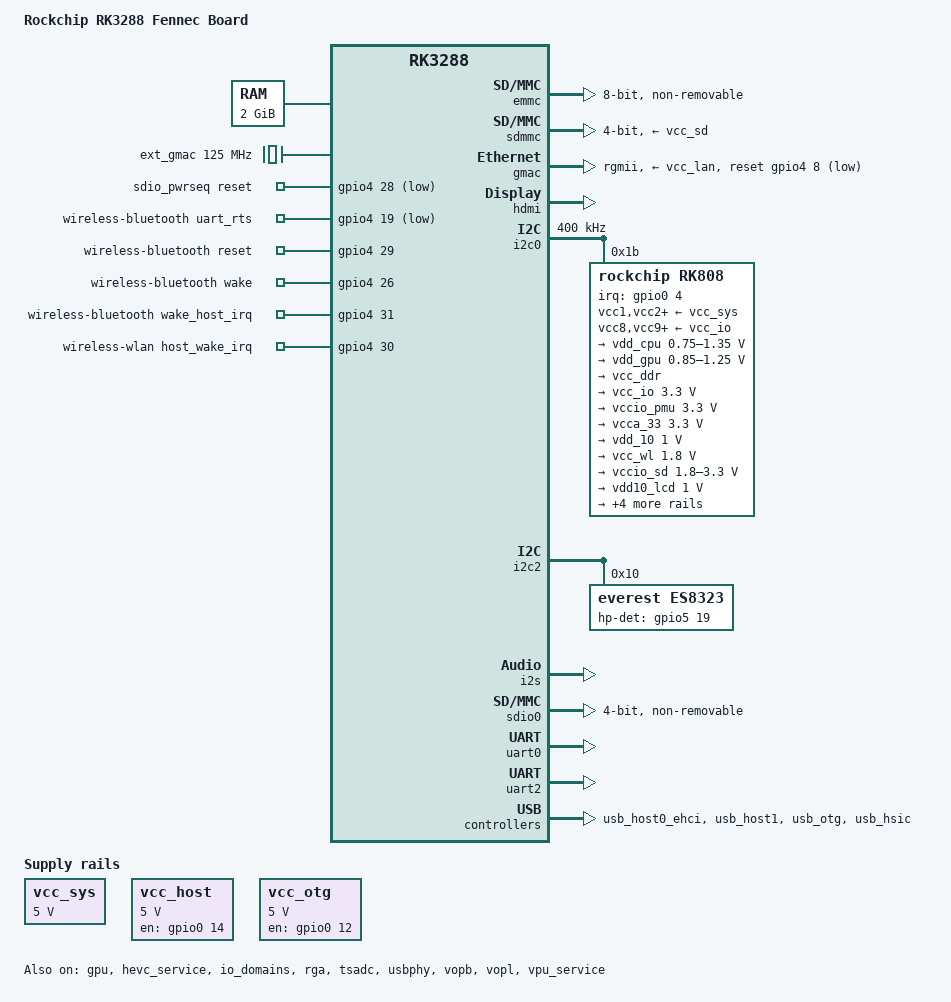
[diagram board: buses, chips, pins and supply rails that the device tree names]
/*
 * This file is dual-licensed: you can use it either under the terms
 * of the GPL or the X11 license, at your option. Note that this dual
 * licensing only applies to this file, and not this project as a
 * whole.
 *
 *  a) This file is free software; you can redistribute it and/or
 *     modify it under the terms of the GNU General Public License as
 *     published by the Free Software Foundation; either version 2 of the
 *     License, or (at your option) any later version.
 *
 *     This file is distributed in the hope that it will be useful,
 *     but WITHOUT ANY WARRANTY; without even the implied warranty of
 *     MERCHANTABILITY or FITNESS FOR A PARTICULAR PURPOSE.  See the
 *     GNU General Public License for more details.
 *
 * Or, alternatively,
 *
 *  b) Permission is hereby granted, free of charge, to any person
 *     obtaining a copy of this software and associated documentation
 *     files (the "Software"), to deal in the Software without
 *     restriction, including without limitation the rights to use,
 *     copy, modify, merge, publish, distribute, sublicense, and/or
 *     sell copies of the Software, and to permit persons to whom the
 *     Software is furnished to do so, subject to the following
 *     conditions:
 *
 *     The above copyright notice and this permission notice shall be
 *     included in all copies or substantial portions of the Software.
 *
 *     THE SOFTWARE IS PROVIDED "AS IS", WITHOUT WARRANTY OF ANY KIND,
 *     EXPRESS OR IMPLIED, INCLUDING BUT NOT LIMITED TO THE WARRANTIES
 *     OF MERCHANTABILITY, FITNESS FOR A PARTICULAR PURPOSE AND
 *     NONINFRINGEMENT. IN NO EVENT SHALL THE AUTHORS OR COPYRIGHT
 *     HOLDERS BE LIABLE FOR ANY CLAIM, DAMAGES OR OTHER LIABILITY,
 *     WHETHER IN AN ACTION OF CONTRACT, TORT OR OTHERWISE, ARISING
 *     FROM, OUT OF OR IN CONNECTION WITH THE SOFTWARE OR THE USE OR
 *     OTHER DEALINGS IN THE SOFTWARE.
 */

/dts-v1/;

#include <dt-bindings/clock/rockchip,rk808.h>
#include "rk3288.dtsi"

/ {
	model = "Rockchip RK3288 Fennec Board";
	compatible = "rockchip,rk3288-fennec", "rockchip,rk3288";

	memory {
		reg = <0x0 0x0 0x0 0x80000000>;
		device_type = "memory";
	};

	ext_gmac: external-gmac-clock {
		compatible = "fixed-clock";
		#clock-cells = <0>;
		clock-frequency = <125000000>;
		clock-output-names = "ext_gmac";
	};

	sdio_pwrseq: sdio-pwrseq {
		compatible = "mmc-pwrseq-simple";
		clocks = <&rk808 RK808_CLKOUT1>;
		clock-names = "ext_clock";
		pinctrl-names = "default";
		pinctrl-0 = <&wifi_enable_h>;

		/*
		 * On the module itself this is one of these (depending
		 * on the actual card populated):
		 * - SDIO_RESET_L_WL_REG_ON
		 * - PDN (power down when low)
		 */
		reset-gpios = <&gpio4 28 GPIO_ACTIVE_LOW>;
	};

	sound {
		compatible = "simple-audio-card";
		simple-audio-card,format = "i2s";
		simple-audio-card,name = "rockchip,fennec-codec";
		simple-audio-card,mclk-fs = <512>;

		simple-audio-card,dai-link@0 {
			format = "i2s";
			cpu {
				sound-dai = <&i2s>;
			};
			codec {
				sound-dai = <&hdmi>;
			};

		};

		simple-audio-card,dai-link@1 {
			format = "i2s";
			cpu {
				sound-dai = <&i2s>;
			};

			codec {
				sound-dai = <&es8323>;
			};
		};
	};

	vcc_sys: vsys-regulator {
		compatible = "regulator-fixed";
		regulator-name = "vcc_sys";
		regulator-min-microvolt = <5000000>;
		regulator-max-microvolt = <5000000>;
		regulator-always-on;
		regulator-boot-on;
	};

	vcc_host: usb-host-regulator {
		compatible = "regulator-fixed";
		enable-active-high;
		gpio = <&gpio0 14 GPIO_ACTIVE_HIGH>;
		pinctrl-names = "default";
		pinctrl-0 = <&host_drv>;
		regulator-name = "vcc_host_5v";
		regulator-min-microvolt = <5000000>;
		regulator-max-microvolt = <5000000>;
		regulator-always-on;
	};

	vcc_otg: usb-otg-regulator {
		compatible = "regulator-fixed";
		enable-active-high;
		gpio = <&gpio0 12 GPIO_ACTIVE_HIGH>;
		pinctrl-names = "default";
		pinctrl-0 = <&otg_drv>;
		regulator-name = "vcc_otg_5v";
		regulator-min-microvolt = <5000000>;
		regulator-max-microvolt = <5000000>;
		regulator-always-on;
	};

	wireless-bluetooth {
		compatible = "bluetooth-platdata";
		uart_rts_gpios = <&gpio4 19 GPIO_ACTIVE_LOW>;
		pinctrl-names = "default", "rts_gpio";
		pinctrl-0 = <&uart0_rts>;
		pinctrl-1 = <&uart0_gpios>;
		BT,reset_gpio    = <&gpio4 29 GPIO_ACTIVE_HIGH>;
		BT,wake_gpio     = <&gpio4 26 GPIO_ACTIVE_HIGH>;
		BT,wake_host_irq = <&gpio4 31 GPIO_ACTIVE_HIGH>;
		status = "okay";
	};

	wireless-wlan {
		compatible = "wlan-platdata";
		rockchip,grf = <&grf>;
		wifi_chip_type = "ap6212";
		sdio_vref = <1800>;
		WIFI,host_wake_irq = <&gpio4 30 GPIO_ACTIVE_HIGH>;
		status = "okay";
	};
};

&cpu0 {
	cpu0-supply = <&vdd_cpu>;
};

&emmc {
	bus-width = <8>;
	cap-mmc-highspeed;
	disable-wp;
	non-removable;
	num-slots = <1>;
	pinctrl-names = "default";
	pinctrl-0 = <&emmc_clk &emmc_cmd &emmc_pwr &emmc_bus8>;
	status = "okay";
};

&sdmmc {
	bus-width = <4>;
	cap-mmc-highspeed;
	cap-sd-highspeed;
	card-detect-delay = <200>;
	disable-wp;
	num-slots = <1>;
	pinctrl-names = "default";
	pinctrl-0 = <&sdmmc_clk &sdmmc_cmd &sdmmc_cd &sdmmc_bus4>;
	status = "okay";
	supports-sd;
	vmmc-supply = <&vcc_sd>;
	vqmmc-supply = <&vccio_sd>;
};

&gmac {
	assigned-clocks = <&cru SCLK_MAC>;
	assigned-clock-parents = <&ext_gmac>;
	clock_in_out = "input";
	pinctrl-names = "default";
	pinctrl-0 = <&rgmii_pins>, <&phy_rst>, <&phy_pmeb>, <&phy_int>;
	phy-supply = <&vcc_lan>;
	phy-mode = "rgmii";
	snps,reset-active-low;
	snps,reset-delays-us = <0 10000 1000000>;
	snps,reset-gpio = <&gpio4 8 GPIO_ACTIVE_LOW>;
	tx_delay = <0x30>;
	rx_delay = <0x10>;
	status = "okay";
};

&gpu {
	mali-supply = <&vdd_gpu>;
	status = "okay";
};

&hdmi {
	#address-cells = <1>;
	#size-cells = <0>;
	#sound-dai-cells = <0>;
	status = "okay";
};

&hevc_service {
	status = "okay";
};

&i2c0 {
	status = "okay";
	clock-frequency = <400000>;

	rk808: pmic@1b {
		compatible = "rockchip,rk808";
		reg = <0x1b>;
		interrupt-parent = <&gpio0>;
		interrupts = <4 IRQ_TYPE_LEVEL_LOW>;
		#clock-cells = <1>;
		clock-output-names = "xin32k", "rk808-clkout2";
		pinctrl-names = "default";
		pinctrl-0 = <&pmic_int &global_pwroff>;
		rockchip,system-power-controller;
		wakeup-source;

		vcc1-supply = <&vcc_sys>;
		vcc2-supply = <&vcc_sys>;
		vcc3-supply = <&vcc_sys>;
		vcc4-supply = <&vcc_sys>;
		vcc6-supply = <&vcc_sys>;
		vcc7-supply = <&vcc_sys>;
		vcc8-supply = <&vcc_io>;
		vcc9-supply = <&vcc_io>;
		vcc10-supply = <&vcc_io>;
		vcc11-supply = <&vcc_io>;
		vcc12-supply = <&vcc_io>;
		vddio-supply = <&vcc_io>;

		regulators {
			vdd_cpu: DCDC_REG1 {
				regulator-always-on;
				regulator-boot-on;
				regulator-min-microvolt = <750000>;
				regulator-max-microvolt = <1350000>;
				regulator-name = "vdd_arm";
				regulator-state-mem {
					regulator-off-in-suspend;
				};
			};

			vdd_gpu: DCDC_REG2 {
				regulator-always-on;
				regulator-boot-on;
				regulator-min-microvolt = <850000>;
				regulator-max-microvolt = <1250000>;
				regulator-name = "vdd_gpu";
				regulator-ramp-delay = <6000>;
				regulator-state-mem {
					regulator-on-in-suspend;
					regulator-suspend-microvolt = <1000000>;
				};
			};

			vcc_ddr: DCDC_REG3 {
				regulator-always-on;
				regulator-boot-on;
				regulator-name = "vcc_ddr";
				regulator-state-mem {
					regulator-on-in-suspend;
				};
			};

			vcc_io: DCDC_REG4 {
				regulator-always-on;
				regulator-boot-on;
				regulator-min-microvolt = <3300000>;
				regulator-max-microvolt = <3300000>;
				regulator-name = "vcc_io";
				regulator-state-mem {
					regulator-on-in-suspend;
					regulator-suspend-microvolt = <3300000>;
				};
			};

			vccio_pmu: LDO_REG1 {
				regulator-always-on;
				regulator-boot-on;
				regulator-min-microvolt = <3300000>;
				regulator-max-microvolt = <3300000>;
				regulator-name = "vccio_pmu";
				regulator-state-mem {
					regulator-on-in-suspend;
					regulator-suspend-microvolt = <3300000>;
				};
			};

			vcca_33: LDO_REG2 {
				regulator-always-on;
				regulator-boot-on;
				regulator-min-microvolt = <3300000>;
				regulator-max-microvolt = <3300000>;
				regulator-name = "vcca_33";
				regulator-state-mem {
					regulator-off-in-suspend;
				};
			};

			vdd_10: LDO_REG3 {
				regulator-always-on;
				regulator-boot-on;
				regulator-min-microvolt = <1000000>;
				regulator-max-microvolt = <1000000>;
				regulator-name = "vdd_10";
				regulator-state-mem {
					regulator-on-in-suspend;
					regulator-suspend-microvolt = <1000000>;
				};
			};

			vcc_wl: LDO_REG4 {
				regulator-always-on;
				regulator-boot-on;
				regulator-min-microvolt = <1800000>;
				regulator-max-microvolt = <1800000>;
				regulator-name = "vcc_wl";
				regulator-state-mem {
					regulator-on-in-suspend;
					regulator-suspend-microvolt = <1800000>;
				};
			};

			vccio_sd: LDO_REG5 {
				regulator-always-on;
				regulator-boot-on;
				regulator-min-microvolt = <1800000>;
				regulator-max-microvolt = <3300000>;
				regulator-name = "vccio_sd";
				regulator-state-mem {
					regulator-on-in-suspend;
					regulator-suspend-microvolt = <3300000>;
				};
			};

			vdd10_lcd: LDO_REG6 {
				regulator-always-on;
				regulator-boot-on;
				regulator-min-microvolt = <1000000>;
				regulator-max-microvolt = <1000000>;
				regulator-name = "vdd10_lcd";
				regulator-state-mem {
					regulator-on-in-suspend;
					regulator-suspend-microvolt = <1000000>;
				};
			};

			vcc_18: LDO_REG7 {
				regulator-always-on;
				regulator-boot-on;
				regulator-min-microvolt = <1800000>;
				regulator-max-microvolt = <1800000>;
				regulator-name = "vcc_18";
				regulator-state-mem {
					regulator-on-in-suspend;
					regulator-suspend-microvolt = <1800000>;
				};
			};

			vcc18_lcd: LDO_REG8 {
				regulator-always-on;
				regulator-boot-on;
				regulator-min-microvolt = <1800000>;
				regulator-max-microvolt = <1800000>;
				regulator-name = "vcc18_lcd";
				regulator-state-mem {
					regulator-on-in-suspend;
					regulator-suspend-microvolt = <1800000>;
				};
			};

			vcc_sd: SWITCH_REG1 {
				regulator-always-on;
				regulator-boot-on;
				regulator-name = "vcc_sd";
				regulator-state-mem {
					regulator-on-in-suspend;
				};
			};

			vcc_lan: SWITCH_REG2 {
				regulator-always-on;
				regulator-boot-on;
				regulator-name = "vcc_lan";
				regulator-state-mem {
					regulator-on-in-suspend;
				};
			};
		};
	};
};

&i2c2 {
	status = "okay";

	es8323: es8323@10 {
		compatible = "everest,es8323";
		reg = <0x10>;
		hp-det-gpio = <&gpio5 19 GPIO_ACTIVE_HIGH>;
		clock-names = "mclk";
		clocks = <&cru SCLK_I2S0_OUT>;
		pinctrl-names = "default";
		pinctrl-0 = <&i2s0_mclk>;
		#sound-dai-cells = <0>;
	};
};

&i2s {
	#sound-dai-cells = <0>;
	status = "okay";
};

&io_domains {
	status = "okay";

	wifi-supply = <&vcc_wl>;
};

&rga {
	status = "okay";
};

&sdio0 {
	status = "okay";
	clock-frequency = <50000000>;
	clock-freq-min-max = <200000 50000000>;
	bus-width = <4>;
	cap-sd-highspeed;
	cap-sdio-irq;
	disable-wp;
	keep-power-in-suspend;
	mmc-pwrseq = <&sdio_pwrseq>;
	non-removable;
	num-slots = <1>;
	pinctrl-names = "default";
	pinctrl-0 = <&sdio0_bus4 &sdio0_cmd &sdio0_clk>;
	sd-uhs-sdr104;
	supports-sdio;
};

&tsadc {
	rockchip,hw-tshut-mode = <0>; /* tshut mode 0:CRU 1:GPIO */
	rockchip,hw-tshut-polarity = <0>; /* tshut polarity 0:LOW 1:HIGH */
	status = "okay";
};

&uart0 {
	pinctrl-names = "default";
	pinctrl-0 = <&uart0_xfer &uart0_cts>;
	status = "okay";
};

&uart2 {
	status = "okay";
};

&usbphy {
	status = "okay";
};

&usb_host0_ehci {
	status = "okay";
};

&usb_host1 {
	status = "okay";
};

&usb_otg {
	status = "okay";
};

&usb_hsic {
	status = "okay";
};

&vopb {
	status = "okay";
};

&vopb_mmu {
	status = "okay";
};

&vopl {
	status = "okay";
};

&vopl_mmu {
	status = "okay";
};

&vpu_service {
	status = "okay";
};

&pinctrl {
	pcfg_output_high: pcfg-output-high {
		output-high;
	};

	pcfg_output_low: pcfg-output-low {
		output-low;
	};

	pcfg_pull_none_drv_8ma: pcfg-pull-none-drv-8ma {
		drive-strength = <8>;
	};

	pcfg_pull_up_drv_8ma: pcfg-pull-up-drv-8ma {
		bias-pull-up;
		drive-strength = <8>;
	};

	gmac {
		phy_int: phy-int {
			rockchip,pins = <0 9 RK_FUNC_GPIO &pcfg_pull_up>;
		};

		phy_pmeb: phy-pmeb {
			rockchip,pins = <0 8 RK_FUNC_GPIO &pcfg_pull_up>;
		};

		phy_rst: phy-rst {
			rockchip,pins = <4 8 RK_FUNC_GPIO &pcfg_output_high>;
		};
	};

	pmic {
		pmic_int: pmic-int {
			rockchip,pins = <RK_GPIO0 4 RK_FUNC_GPIO &pcfg_pull_up>;
		};
	};

	sdio-pwrseq {
		wifi_enable_h: wifi-enable-h {
			rockchip,pins = <4 28 RK_FUNC_GPIO &pcfg_pull_none>;
		};
	};

	sdmmc {
		sdmmc_bus4: sdmmc-bus4 {
			rockchip,pins = <6 16 RK_FUNC_1 &pcfg_pull_up_drv_8ma>,
					<6 17 RK_FUNC_1 &pcfg_pull_up_drv_8ma>,
					<6 18 RK_FUNC_1 &pcfg_pull_up_drv_8ma>,
					<6 19 RK_FUNC_1 &pcfg_pull_up_drv_8ma>;
		};

		sdmmc_clk: sdmmc-clk {
			rockchip,pins = <6 20 RK_FUNC_1 &pcfg_pull_none_drv_8ma>;
		};

		sdmmc_cmd: sdmmc-cmd {
			rockchip,pins = <6 21 RK_FUNC_1 &pcfg_pull_up_drv_8ma>;
		};

		sdmmc_pwr: sdmmc-pwr {
			rockchip,pins = <7 11 RK_FUNC_GPIO &pcfg_pull_none>;
		};
	};

	usb_host {
		host_drv: host-drv {
			rockchip,pins = <0 14 RK_FUNC_GPIO &pcfg_pull_none>;
		};
	};

	usb_otg {
		otg_drv: otg-drv {
			rockchip,pins = <0 12 RK_FUNC_GPIO &pcfg_pull_none>;
		};
	};

	wireless-bluetooth {
		uart0_gpios: uart0-gpios {
			rockchip,pins = <4 19 RK_FUNC_GPIO &pcfg_pull_none>;
		};
	};
};
